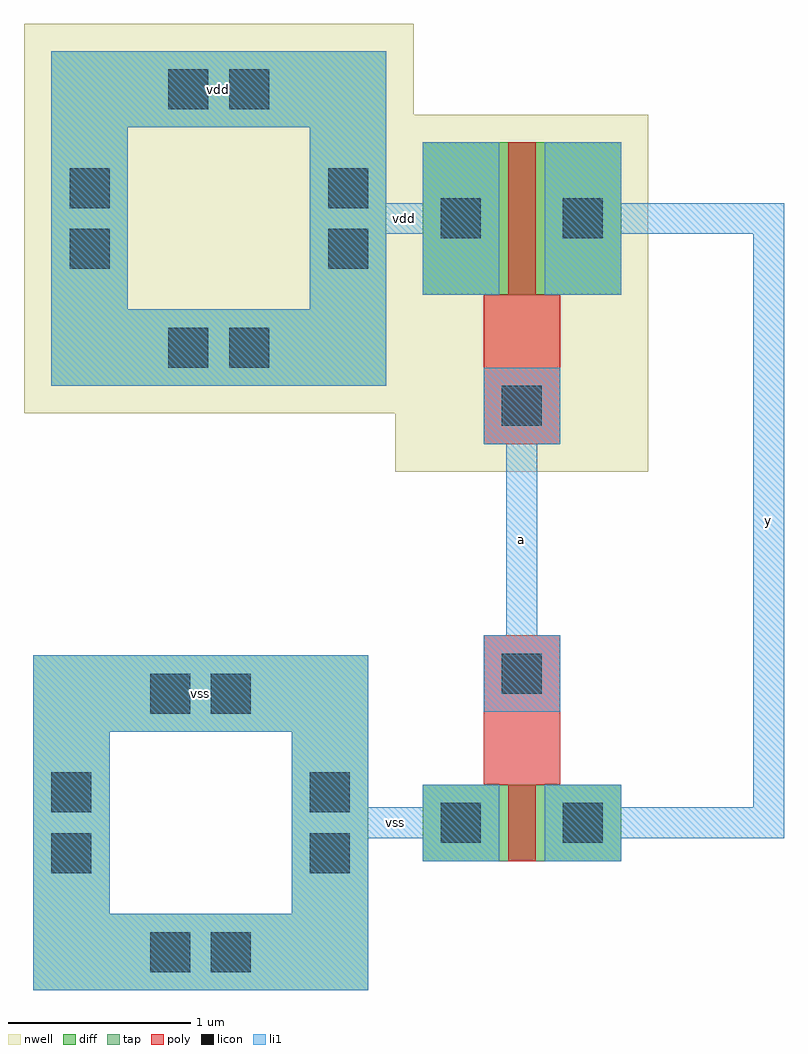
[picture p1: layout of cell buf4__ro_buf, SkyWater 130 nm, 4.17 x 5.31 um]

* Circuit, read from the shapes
.subckt buf4__ro_buf a vdd vss y
XM1 y a vss vss sky130_fd_pr__nfet_01v8 w=0.42 l=0.15
XM2 y a vdd vdd sky130_fd_pr__pfet_01v8 w=0.84 l=0.15
.ends

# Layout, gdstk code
import gdstk
lib = gdstk.Library(unit=1e-6, precision=1e-09)
def R(c, l, rs):  # rectangles x0, y0, x1, y1
    for r in rs: c.add(gdstk.rectangle(r[:2], r[2:], *l))
def P(c, l, *ps):  # polygons
    for p in ps: c.add(gdstk.Polygon(p, *l))
nwell = (64, 20)
diff = (65, 20)
tap = (65, 44)
poly = (66, 20)
licon = (66, 44)
li1 = (67, 20)

guard_ring_12 = lib.new_cell('guard_ring$12')
P(guard_ring_12, tap, [(0,0),(0,1.42),(0.42,1.42),(0.42,0.42),(1.42,0.42),(1.42,1.42),(0,1.42),(0,1.84),(1.84,1.84),(1.84,0)])
R(guard_ring_12, licon, [(0.643,0.1,0.863,0.32), (0.977,0.1,1.197,0.32), (0.1,0.643,0.32,0.863), (1.52,0.643,1.74,0.863), (0.1,0.977,0.32,1.197), (1.52,0.977,1.74,1.197), (0.643,1.52,0.863,1.74), (0.977,1.52,1.197,1.74)])
P(guard_ring_12, li1, [(0,0),(0,1.42),(0.42,1.42),(0.42,0.42),(1.42,0.42),(1.42,1.42),(0,1.42),(0,1.84),(1.84,1.84),(1.84,0)])

psub_tap__psub_tap_11 = lib.new_cell('psub_tap__psub_tap$11')
psub_tap__psub_tap_11.add(gdstk.Reference(guard_ring_12, (0,0)))

mos_array_15 = lib.new_cell('mos_array$15')
R(mos_array_15, diff, [(0,0,1.09,0.42)])
R(mos_array_15, poly, [(0.47,0,0.62,0.42), (0.335,0.42,0.755,1.24)])
R(mos_array_15, licon, [(0.1,0.1,0.32,0.32), (0.77,0.1,0.99,0.32), (0.435,0.92,0.655,1.14)])
R(mos_array_15, li1, [(0,0,0.42,0.42), (0.67,0,1.09,0.42), (0.335,0.82,0.755,1.24)])

mn__nfet_w0p42_l0p15_3 = lib.new_cell('mn__nfet_w0p42_l0p15$3')
mn__nfet_w0p42_l0p15_3.add(gdstk.Reference(mos_array_15, (0,0)))

guard_ring_1_11 = lib.new_cell('guard_ring$1$11')
R(guard_ring_1_11, nwell, [(-0.15,-0.15,1.99,1.99)])
P(guard_ring_1_11, tap, [(0,0),(0,1.42),(0.42,1.42),(0.42,0.42),(1.42,0.42),(1.42,1.42),(0,1.42),(0,1.84),(1.84,1.84),(1.84,0)])
R(guard_ring_1_11, licon, [(0.643,0.1,0.863,0.32), (0.977,0.1,1.197,0.32), (0.1,0.643,0.32,0.863), (1.52,0.643,1.74,0.863), (0.1,0.977,0.32,1.197), (1.52,0.977,1.74,1.197), (0.643,1.52,0.863,1.74), (0.977,1.52,1.197,1.74)])
P(guard_ring_1_11, li1, [(0,0),(0,1.42),(0.42,1.42),(0.42,0.42),(1.42,0.42),(1.42,1.42),(0,1.42),(0,1.84),(1.84,1.84),(1.84,0)])

nwell_tap__nwell_tap_11 = lib.new_cell('nwell_tap__nwell_tap$11')
nwell_tap__nwell_tap_11.add(gdstk.Reference(guard_ring_1_11, (0,0)))

mos_array_1_11 = lib.new_cell('mos_array$1$11')
R(mos_array_1_11, nwell, [(-0.15,-0.15,1.24,1.81)])
R(mos_array_1_11, diff, [(0,0,1.09,0.84)])
R(mos_array_1_11, poly, [(0.47,0,0.62,0.84), (0.335,0.84,0.755,1.66)])
R(mos_array_1_11, licon, [(0.1,0.31,0.32,0.53), (0.77,0.31,0.99,0.53), (0.435,1.34,0.655,1.56)])
R(mos_array_1_11, li1, [(0,0,0.42,0.84), (0.67,0,1.09,0.84), (0.335,1.24,0.755,1.66)])

mp__pfet_w0p84_l0p15_3 = lib.new_cell('mp__pfet_w0p84_l0p15$3')
mp__pfet_w0p84_l0p15_3.add(gdstk.Reference(mos_array_1_11, (0,0)))

buf4__ro_buf = lib.new_cell('buf4__ro_buf')
R(buf4__ro_buf, li1, [(0.335,1.03,0.755,1.2), (0.335,2.33,0.755,2.5)])
buf4__ro_buf.add(gdstk.FlexPath([(0.545,2.5),(0.545,1.03)], 0.17, ends="flush", simple_path=True, layer=67, datatype=20))  # li1
buf4__ro_buf.add(gdstk.FlexPath([(0.88,3.53),(1.9,3.53),(1.9,0.21),(0.88,0.21)], 0.17, ends="flush", simple_path=True, layer=67, datatype=20))  # li1
buf4__ro_buf.add(gdstk.FlexPath([(0.21,3.53),(-0.41,3.53)], 0.17, ends="flush", simple_path=True, layer=67, datatype=20))  # li1
buf4__ro_buf.add(gdstk.FlexPath([(0.21,0.21),(-0.51,0.21)], 0.17, ends="flush", simple_path=True, layer=67, datatype=20))  # li1
buf4__ro_buf.add(gdstk.Reference(psub_tap__psub_tap_11, (-2.14,-0.71)))
buf4__ro_buf.add(gdstk.Reference(mn__nfet_w0p42_l0p15_3, (0,0)))
buf4__ro_buf.add(gdstk.Reference(nwell_tap__nwell_tap_11, (-2.04,2.61)))
buf4__ro_buf.add(gdstk.Reference(mp__pfet_w0p84_l0p15_3, (0,3.95), x_reflection=True))
buf4__ro_buf.add(gdstk.Label('a', (0.545,1.765), layer=67, texttype=5))
buf4__ro_buf.add(gdstk.Label('y', (1.9,1.87), layer=67, texttype=5))
buf4__ro_buf.add(gdstk.Label('vdd', (-0.1,3.53), layer=67, texttype=5))
buf4__ro_buf.add(gdstk.Label('vss', (-0.15,0.21), layer=67, texttype=5))
buf4__ro_buf.add(gdstk.Label('vdd', (-1.12,4.24), layer=67, texttype=5))
buf4__ro_buf.add(gdstk.Label('vss', (-1.22,0.92), layer=67, texttype=5))

lib.write_gds('buf4__ro_buf.gds')
